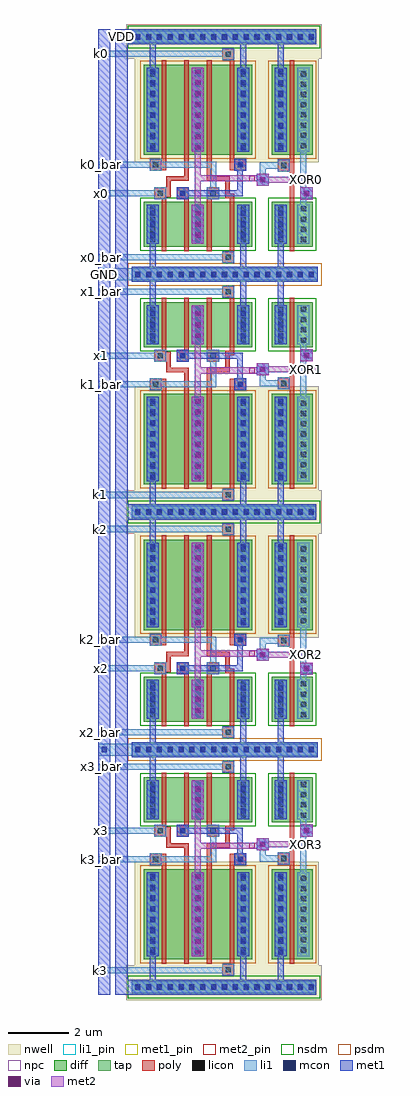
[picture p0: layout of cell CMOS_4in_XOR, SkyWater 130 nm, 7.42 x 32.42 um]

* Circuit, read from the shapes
.subckt CMOS_4in_XOR GND VDD XOR0 XOR0_bar XOR1 XOR1_bar XOR2 XOR2_bar XOR3 XOR3_bar k0 k0_bar k1 k1_bar k2 k2_bar k3 k3_bar x0 x0_bar x1 x1_bar x2 x2_bar x3 x3_bar
XM1 n1 x3 GND GND sky130_fd_pr__nfet_01v8 w=1.5 l=0.15
XM2 n2 x2 GND GND sky130_fd_pr__nfet_01v8 w=1.5 l=0.15
XM3 n3 x1 GND GND sky130_fd_pr__nfet_01v8 w=1.5 l=0.15
XM4 n4 x0 GND GND sky130_fd_pr__nfet_01v8 w=1.5 l=0.15
XM5 XOR3 k3 n1 GND sky130_fd_pr__nfet_01v8 w=1.5 l=0.15
XM6 XOR2 k2 n2 GND sky130_fd_pr__nfet_01v8 w=1.5 l=0.15
XM7 XOR1 k1 n3 GND sky130_fd_pr__nfet_01v8 w=1.5 l=0.15
XM8 XOR0 k0 n4 GND sky130_fd_pr__nfet_01v8 w=1.5 l=0.15
XM9 n5 k3_bar XOR3 GND sky130_fd_pr__nfet_01v8 w=1.5 l=0.15
XM10 n6 k2_bar XOR2 GND sky130_fd_pr__nfet_01v8 w=1.5 l=0.15
XM11 n7 k1_bar XOR1 GND sky130_fd_pr__nfet_01v8 w=1.5 l=0.15
XM12 n8 k0_bar XOR0 GND sky130_fd_pr__nfet_01v8 w=1.5 l=0.15
XM13 GND x3_bar n5 GND sky130_fd_pr__nfet_01v8 w=1.5 l=0.15
XM14 GND x2_bar n6 GND sky130_fd_pr__nfet_01v8 w=1.5 l=0.15
XM15 GND x1_bar n7 GND sky130_fd_pr__nfet_01v8 w=1.5 l=0.15
XM16 GND x0_bar n8 GND sky130_fd_pr__nfet_01v8 w=1.5 l=0.15
XM17 XOR3_bar XOR3 GND GND sky130_fd_pr__nfet_01v8 w=1.5 l=0.15
XM18 XOR2_bar XOR2 GND GND sky130_fd_pr__nfet_01v8 w=1.5 l=0.15
XM19 XOR1_bar XOR1 GND GND sky130_fd_pr__nfet_01v8 w=1.5 l=0.15
XM20 XOR0_bar XOR0 GND GND sky130_fd_pr__nfet_01v8 w=1.5 l=0.15
XM21 n9 k3_bar VDD VDD sky130_fd_pr__pfet_01v8 w=3 l=0.15
XM22 n10 k2_bar VDD VDD sky130_fd_pr__pfet_01v8 w=3 l=0.15
XM23 n11 k1_bar VDD VDD sky130_fd_pr__pfet_01v8 w=3 l=0.15
XM24 n12 k0_bar VDD VDD sky130_fd_pr__pfet_01v8 w=3 l=0.15
XM25 XOR3 x3 n9 VDD sky130_fd_pr__pfet_01v8 w=3 l=0.15
XM26 XOR2 x2 n10 VDD sky130_fd_pr__pfet_01v8 w=3 l=0.15
XM27 XOR1 x1 n11 VDD sky130_fd_pr__pfet_01v8 w=3 l=0.15
XM28 XOR0 x0 n12 VDD sky130_fd_pr__pfet_01v8 w=3 l=0.15
XM29 n13 x3_bar XOR3 VDD sky130_fd_pr__pfet_01v8 w=3 l=0.15
XM30 n14 x2_bar XOR2 VDD sky130_fd_pr__pfet_01v8 w=3 l=0.15
XM31 n15 x1_bar XOR1 VDD sky130_fd_pr__pfet_01v8 w=3 l=0.15
XM32 n16 x0_bar XOR0 VDD sky130_fd_pr__pfet_01v8 w=3 l=0.15
XM33 VDD k3 n13 VDD sky130_fd_pr__pfet_01v8 w=3 l=0.15
XM34 VDD k2 n14 VDD sky130_fd_pr__pfet_01v8 w=3 l=0.15
XM35 VDD k1 n15 VDD sky130_fd_pr__pfet_01v8 w=3 l=0.15
XM36 VDD k0 n16 VDD sky130_fd_pr__pfet_01v8 w=3 l=0.15
XM37 XOR3_bar XOR3 VDD VDD sky130_fd_pr__pfet_01v8 w=3 l=0.15
XM38 XOR2_bar XOR2 VDD VDD sky130_fd_pr__pfet_01v8 w=3 l=0.15
XM39 XOR1_bar XOR1 VDD VDD sky130_fd_pr__pfet_01v8 w=3 l=0.15
XM40 XOR0_bar XOR0 VDD VDD sky130_fd_pr__pfet_01v8 w=3 l=0.15
.ends

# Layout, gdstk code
import gdstk
lib = gdstk.Library(unit=1e-6, precision=1e-09)
def R(c, l, rs):  # rectangles x0, y0, x1, y1
    for r in rs: c.add(gdstk.rectangle(r[:2], r[2:], *l))
def A(c, l, x, y, w, h, nx, ny, dx, dy):  # array of equal rectangles
    R(c, l, [(x+i*dx, y+j*dy, x+i*dx+w, y+j*dy+h) for i in range(nx) for j in range(ny)])
nwell = (64, 20)
diff = (65, 20)
tap = (65, 44)
poly = (66, 20)
licon = (66, 44)
li1_pin = (67, 16)
li1 = (67, 20)
mcon = (67, 44)
met1_pin = (68, 16)
met1 = (68, 20)
via = (68, 44)
met2_pin = (69, 16)
met2 = (69, 20)
nsdm = (93, 44)
psdm = (94, 20)
npc = (95, 20)

cmos_inv = lib.new_cell('CMOS_INV')
R(cmos_inv, nwell, [(-0.73,-0.25,1.02,3.2), (-1.12,3.2,1.125,4.35)])
R(cmos_inv, diff, [(-0.53,-3.05,0.82,-1.55), (-0.53,0,0.82,3)])
R(cmos_inv, tap, [(-0.94,-4.22,1,-3.72), (-0.94,3.67,0.945,4.17)])
R(cmos_inv, poly, [(0.07,-3.2,0.22,-0.55), (-0.33,-0.55,0.22,-0.15), (0.07,-0.15,0.22,3.15)])
A(cmos_inv, licon, -0.75, -4.055, 0.17, 0.17, 5, 2, 0.36, 7.89)
A(cmos_inv, licon, -0.315, -2.895, 0.17, 0.17, 1, 4, 0, 0.34)
A(cmos_inv, licon, 0.435, -2.895, 0.17, 0.17, 1, 4, 0, 0.34)
A(cmos_inv, licon, -0.315, 0.225, 0.17, 0.17, 1, 8, 0, 0.34)
A(cmos_inv, licon, 0.435, 0.225, 0.17, 0.17, 1, 8, 0, 0.34)
R(cmos_inv, licon, [(-0.215,-0.435,-0.045,-0.265)])
R(cmos_inv, li1_pin, [(0.435,-0.91,0.605,-0.74), (-0.215,-0.435,-0.045,-0.265)])
R(cmos_inv, li1, [(-0.94,-4.17,1,-3.77), (-0.43,-2.95,-0.03,-1.65), (0.32,-2.95,0.72,-1.65), (0.42,-1.65,0.62,0.1), (-0.33,-0.55,0.07,-0.45), (-0.94,-0.45,0.07,-0.25), (-0.33,-0.25,0.07,-0.15), (-0.43,0.1,-0.03,2.9), (0.32,0.1,0.72,2.9), (-0.94,3.72,0.945,4.12)])
A(cmos_inv, mcon, -0.75, -4.055, 0.17, 0.17, 5, 2, 0.36, 7.89)
A(cmos_inv, mcon, -0.315, -2.745, 0.17, 0.17, 1, 3, 0, 0.36)
A(cmos_inv, mcon, -0.315, 0.155, 0.17, 0.17, 1, 8, 0, 0.36)
R(cmos_inv, met1_pin, [(-0.03,-4.055,0.14,-3.885), (-0.03,3.835,0.14,4.005)])
R(cmos_inv, met1, [(-0.94,-4.22,1,-3.72), (-0.33,-3.72,-0.13,-2.95), (-0.43,-2.95,-0.03,-1.65), (-0.43,0.1,-0.03,2.9), (-0.33,2.9,-0.13,3.67), (-0.94,3.67,0.945,4.17)])
R(cmos_inv, nsdm, [(-0.655,-3.175,0.945,-1.425), (-1.065,3.545,1.07,4.295)])
R(cmos_inv, psdm, [(-1.065,-4.345,1.125,-3.595), (-0.655,-0.125,0.945,3.125)])
R(cmos_inv, npc, [(-0.315,-0.535,0.055,-0.165)])
cmos_inv.add(gdstk.Label('GND', (0.055,-3.97), layer=68, texttype=16))
cmos_inv.add(gdstk.Label('VDD', (0.055,3.92), layer=68, texttype=16))
cmos_inv.add(gdstk.Label('OUT', (0.52,-0.825), layer=67, texttype=16))
cmos_inv.add(gdstk.Label('A', (-0.13,-0.35), layer=67, texttype=16))

cmos_xor = lib.new_cell('CMOS_XOR')
R(cmos_xor, nwell, [(-2.1,-0.25,2.15,3.2), (-2.38,3.2,2.38,4.35)])
R(cmos_xor, diff, [(-1.8,-3.05,1.8,-1.55), (-1.8,0,1.8,3)])
R(cmos_xor, tap, [(-2.2,-4.22,2.2,-3.72), (-2.2,3.67,2.2,4.17)])
A(cmos_xor, poly, -1.2, -3.2, 0.15, 1.725, 3, 1, 0.75, 0)
R(cmos_xor, poly, [(0.8,-3.6,1.2,-3.2), (1.05,-3.2,1.2,-1.44), (-1.45,-1.475,-1.05,-1.4), (-0.7,-1.475,-0.3,-1.075), (0.3,-1.475,0.7,-1.075), (0.91,-1.44,1.2,-1.29), (-1.45,-1.4,-0.91,-1.075), (0.91,-1.29,1.06,-0.865), (-1.06,-1.075,-0.91,-0.865), (-1.06,-0.865,-0.3,-0.715), (0.3,-0.865,1.06,-0.715), (-0.45,-0.715,-0.3,3.15), (0.3,-0.715,0.45,3.15), (-1.6,-0.52,-1.2,-0.505), (1.2,-0.52,1.6,-0.505), (-1.6,-0.505,-1.05,-0.12), (1.05,-0.505,1.6,-0.12), (-1.2,-0.12,-1.05,3.15), (1.05,-0.12,1.2,3.15), (0.8,3.15,1.2,3.55)])
A(cmos_xor, licon, -2.085, -4.055, 0.17, 0.17, 12, 2, 0.36, 7.89)
A(cmos_xor, licon, -1.585, -2.895, 0.17, 0.17, 3, 4, 1.5, 0.34)
A(cmos_xor, licon, -1.585, 0.225, 0.17, 0.17, 3, 8, 1.5, 0.34)
R(cmos_xor, licon, [(0.915,-3.485,1.085,-3.315), (-1.335,-1.36,-1.165,-1.19), (-0.585,-1.36,-0.415,-1.19), (0.415,-1.36,0.585,-1.19), (-1.485,-0.405,-1.315,-0.235), (1.315,-0.405,1.485,-0.235), (0.915,3.265,1.085,3.435)])
R(cmos_xor, li1_pin, [(0.915,-3.485,1.085,-3.315), (-1.335,-1.36,-1.165,-1.19), (-1.515,-0.445,-1.27,-0.21), (0.915,3.265,1.085,3.435)])
A(cmos_xor, li1, -1.7, -2.95, 0.4, 1.3, 3, 1, 1.5, 0)
A(cmos_xor, li1, -1.7, 0.1, 0.4, 2.8, 3, 1, 1.5, 0)
R(cmos_xor, li1, [(-2.2,-4.17,2.2,-3.77), (0.8,-3.6,1.2,-3.2), (-1.45,-1.475,-1.05,-1.075), (-0.7,-1.475,-0.3,-1.075), (0.3,-1.475,0.7,-1.075), (0.4,-1.075,0.6,-0.42), (-1.6,-0.52,-1.2,-0.42), (1.2,-0.52,1.6,-0.12), (-1.6,-0.42,0.6,-0.22), (-1.6,-0.22,-1.2,-0.12), (0.8,3.15,1.2,3.55), (-2.2,3.72,2.2,4.12)])
A(cmos_xor, mcon, -2.085, -4.055, 0.17, 0.17, 12, 2, 0.36, 7.89)
A(cmos_xor, mcon, -1.585, -2.745, 0.17, 0.17, 3, 3, 1.5, 0.36)
A(cmos_xor, mcon, -1.585, 0.155, 0.17, 0.17, 3, 8, 1.5, 0.36)
R(cmos_xor, mcon, [(-0.585,-1.36,-0.415,-1.19), (1.315,-0.405,1.485,-0.235)])
R(cmos_xor, met1_pin, [(-0.3,-4.07,-0.1,-3.87), (-0.3,3.82,-0.1,4.02)])
A(cmos_xor, met1, -1.7, -2.95, 0.4, 1.3, 3, 1, 1.5, 0)
A(cmos_xor, met1, -1.7, 0.1, 0.4, 2.8, 3, 1, 1.5, 0)
R(cmos_xor, met1, [(-2.2,-4.22,2.2,-3.72), (-1.6,-3.72,-1.4,-2.95), (1.4,-3.72,1.6,-2.95), (-0.7,-1.475,-0.3,-1.375), (-0.7,-1.375,1.495,-1.175), (-0.7,-1.175,-0.3,-1.075), (1.3,-1.175,1.495,-0.52), (1.2,-0.52,1.6,-0.12), (-1.6,2.9,-1.4,3.67), (1.4,2.9,1.6,3.67), (-2.2,3.67,2.2,4.17)])
A(cmos_xor, via, -0.075, -2.735, 0.15, 0.15, 1, 3, 0, 0.36)
A(cmos_xor, via, -0.075, 0.165, 0.15, 0.15, 1, 8, 0, 0.36)
R(cmos_xor, met2_pin, [(1.7,-0.87,1.88,-0.69)])
R(cmos_xor, met2, [(-0.2,-2.95,0.2,-1.65), (-0.1,-1.65,0.1,-0.88), (-0.1,-0.88,2.15,-0.68), (-0.1,-0.68,0.1,0.1), (-0.2,0.1,0.2,2.9)])
R(cmos_xor, nsdm, [(-1.925,-3.175,1.925,-1.425), (-2.325,3.545,2.325,4.295)])
R(cmos_xor, psdm, [(-2.325,-4.345,2.325,-3.595), (-1.925,-0.125,1.925,3.125)])
R(cmos_xor, npc, [(0.815,-3.585,1.185,-3.215), (-1.435,-1.46,-1.065,-1.09), (-0.685,-1.46,-0.315,-1.09), (0.315,-1.46,0.685,-1.09), (-1.585,-0.505,-1.215,-0.135), (1.215,-0.505,1.585,-0.135), (0.815,3.165,1.185,3.535)])
cmos_xor.add(gdstk.Label('GND!', (-0.2,-3.97), layer=68, texttype=16))
cmos_xor.add(gdstk.Label('VDD', (-0.2,3.92), layer=68, texttype=16))
cmos_xor.add(gdstk.Label('B', (1,3.35), layer=67, texttype=16))
cmos_xor.add(gdstk.Label('A_bar', (1,-3.4), layer=67, texttype=16))
cmos_xor.add(gdstk.Label('A', (-1.25,-1.275), layer=67, texttype=16))
cmos_xor.add(gdstk.Label('B_bar', (-1.392,-0.327), layer=67, texttype=16))
cmos_xor.add(gdstk.Label('XOR', (1.79,-0.78), layer=69, texttype=16))

cmos_4in_xor = lib.new_cell('CMOS_4in_XOR')
R(cmos_4in_xor, nwell, [(1.75,-15.06,1.855,-11.61), (1.75,-4.17,1.855,-0.72), (1.75,0.72,1.855,4.17), (1.75,11.61,1.855,15.06)])
R(cmos_4in_xor, li1_pin, [(-3.68,-15.265,-3.58,-15.165), (-3.67,-11.59,-3.57,-11.49), (-3.66,-10.635,-3.56,-10.535), (-3.66,-8.515,-3.56,-8.415), (-3.68,-7.37,-3.58,-7.27), (-3.655,-5.245,-3.555,-5.145), (-3.675,-4.29,-3.575,-4.19), (-3.68,-0.615,-3.58,-0.515), (-3.69,0.515,-3.59,0.615), (-3.665,4.185,-3.565,4.285), (-3.655,5.15,-3.555,5.25), (-3.66,7.265,-3.56,7.365), (-3.655,8.41,-3.555,8.51), (-3.65,10.54,-3.55,10.64), (-3.66,11.49,-3.56,11.59), (-3.66,15.17,-3.56,15.27)])
R(cmos_4in_xor, li1, [(-3.71,-15.315,0.4,-15.115), (-3.71,-11.64,-2,-11.44), (1.645,-11.41,1.845,-11.24), (1.545,-11.24,1.945,-10.84), (3.005,-10.78,3.405,-10.38), (-3.71,-10.685,-1.85,-10.485), (-3.71,-8.56,0.4,-8.36), (-3.71,-8.09,-2.6,-7.69), (-3.71,-7.42,0.4,-7.22), (3.005,-5.4,3.405,-5), (-3.71,-5.295,-1.85,-5.095), (1.545,-4.94,1.945,-4.54), (1.645,-4.54,1.845,-4.37), (-3.71,-4.34,-2,-4.14), (-3.71,-0.665,0.4,-0.465), (-3.71,0.465,0.4,0.665), (-3.71,4.14,-2,4.34), (1.645,4.37,1.845,4.54), (1.545,4.54,1.945,4.94), (3.005,5,3.405,5.4), (-3.71,5.095,-1.85,5.295), (-3.71,7.22,0.4,7.42), (-3.71,7.69,-2.6,8.09), (-3.71,8.36,0.4,8.56), (3.005,10.38,3.405,10.78), (-3.71,10.485,-1.85,10.685), (1.545,10.84,1.945,11.24), (1.645,11.24,1.845,11.41), (-3.71,11.44,-2,11.64), (-3.71,15.115,0.4,15.315)])
R(cmos_4in_xor, mcon, [(1.66,-11.125,1.83,-10.955), (3.12,-10.665,3.29,-10.495), (-3.595,-7.975,-3.425,-7.805), (3.12,-5.285,3.29,-5.115), (1.66,-4.825,1.83,-4.655), (1.66,4.655,1.83,4.825), (3.12,5.115,3.29,5.285), (-3.595,7.805,-3.425,7.975), (3.12,10.495,3.29,10.665), (1.66,10.955,1.83,11.125)])
R(cmos_4in_xor, met1_pin, [(-3.58,7.825,-3.44,7.96), (-3.03,15.695,-2.86,15.865)])
A(cmos_4in_xor, met1, -3.14, -16.03, 0.54, 0.5, 1, 3, 0, 15.78)
R(cmos_4in_xor, met1, [(-3.71,-16.03,-3.31,16.03), (-3.14,-15.53,-2.74,-0.25), (1.545,-11.24,1.945,-10.84), (3.005,-10.78,3.405,-10.38), (3.005,-5.4,3.405,-5), (1.545,-4.94,1.945,-4.54), (-3.14,0.25,-2.74,15.53), (1.545,4.54,1.945,4.94), (3.005,5,3.405,5.4), (3.005,10.38,3.405,10.78), (1.545,10.84,1.945,11.24)])
R(cmos_4in_xor, via, [(1.67,-11.115,1.82,-10.965), (3.13,-10.655,3.28,-10.505), (3.13,-5.275,3.28,-5.125), (1.67,-4.815,1.82,-4.665), (1.67,4.665,1.82,4.815), (3.13,5.125,3.28,5.275), (3.13,10.505,3.28,10.655), (1.67,10.965,1.82,11.115)])
R(cmos_4in_xor, met2_pin, [(3.12,-11.125,3.29,-10.955), (3.12,-10.665,3.29,-10.495), (3.12,-5.285,3.29,-5.115), (3.12,-4.825,3.29,-4.655), (3.12,4.655,3.29,4.825), (3.12,5.115,3.29,5.285), (3.12,10.495,3.29,10.665), (3.12,10.955,3.29,11.125)])
R(cmos_4in_xor, met2, [(1.545,-11.24,1.945,-11.14), (1.545,-11.14,3.53,-10.94), (1.545,-10.94,1.945,-10.84), (3.005,-10.78,3.405,-10.38), (3.005,-5.4,3.405,-5), (1.545,-4.94,1.945,-4.84), (1.545,-4.84,3.53,-4.64), (1.545,-4.64,1.945,-4.54), (1.545,4.54,1.945,4.64), (1.545,4.64,3.53,4.84), (1.545,4.84,1.945,4.94), (3.005,5,3.405,5.4), (3.005,10.38,3.405,10.78), (1.545,10.84,1.945,10.94), (1.545,10.94,3.7,11.14), (1.545,11.14,1.945,11.24)])
cmos_4in_xor.add(gdstk.Reference(cmos_inv, (2.585,-3.92)))
cmos_4in_xor.add(gdstk.Reference(cmos_inv, (2.585,11.86)))
cmos_4in_xor.add(gdstk.Reference(cmos_inv, (2.585,3.92), x_reflection=True))
cmos_4in_xor.add(gdstk.Reference(cmos_inv, (2.585,-11.86), x_reflection=True))
cmos_4in_xor.add(gdstk.Reference(cmos_xor, (-0.4,11.86)))
cmos_4in_xor.add(gdstk.Reference(cmos_xor, (-0.4,3.92), x_reflection=True))
cmos_4in_xor.add(gdstk.Reference(cmos_xor, (-0.4,-11.86), x_reflection=True))
cmos_4in_xor.add(gdstk.Reference(cmos_xor, (-0.4,-3.92)))
cmos_4in_xor.add(gdstk.Label('GND', (-3.51,7.892), layer=68, texttype=16))
cmos_4in_xor.add(gdstk.Label('VDD', (-2.945,15.78), layer=68, texttype=16))
cmos_4in_xor.add(gdstk.Label('x0', (-3.6,10.59), layer=67, texttype=16))
cmos_4in_xor.add(gdstk.Label('x0_bar', (-3.605,8.46), layer=67, texttype=16))
cmos_4in_xor.add(gdstk.Label('k0', (-3.61,15.22), layer=67, texttype=16))
cmos_4in_xor.add(gdstk.Label('k0_bar', (-3.61,11.54), layer=67, texttype=16))
cmos_4in_xor.add(gdstk.Label('x1', (-3.605,5.2), layer=67, texttype=16))
cmos_4in_xor.add(gdstk.Label('x1_bar', (-3.61,7.315), layer=67, texttype=16))
cmos_4in_xor.add(gdstk.Label('k1', (-3.64,0.565), layer=67, texttype=16))
cmos_4in_xor.add(gdstk.Label('k1_bar', (-3.615,4.235), layer=67, texttype=16))
cmos_4in_xor.add(gdstk.Label('x2', (-3.605,-5.195), layer=67, texttype=16))
cmos_4in_xor.add(gdstk.Label('x2_bar', (-3.63,-7.32), layer=67, texttype=16))
cmos_4in_xor.add(gdstk.Label('k2', (-3.63,-0.565), layer=67, texttype=16))
cmos_4in_xor.add(gdstk.Label('k2_bar', (-3.625,-4.24), layer=67, texttype=16))
cmos_4in_xor.add(gdstk.Label('x3', (-3.61,-10.585), layer=67, texttype=16))
cmos_4in_xor.add(gdstk.Label('x3_bar', (-3.61,-8.465), layer=67, texttype=16))
cmos_4in_xor.add(gdstk.Label('k3', (-3.63,-15.215), layer=67, texttype=16))
cmos_4in_xor.add(gdstk.Label('k3_bar', (-3.62,-11.54), layer=67, texttype=16))
cmos_4in_xor.add(gdstk.Label('XOR1', (3.205,4.74), layer=69, texttype=16))
cmos_4in_xor.add(gdstk.Label('XOR0', (3.205,11.04), layer=69, texttype=16))
cmos_4in_xor.add(gdstk.Label('XOR2', (3.205,-4.74), layer=69, texttype=16))
cmos_4in_xor.add(gdstk.Label('XOR3', (3.205,-11.04), layer=69, texttype=16))
cmos_4in_xor.add(gdstk.Label('XOR0_bar', (3.205,10.58), layer=69, texttype=16))
cmos_4in_xor.add(gdstk.Label('XOR1_bar', (3.205,5.2), layer=69, texttype=16))
cmos_4in_xor.add(gdstk.Label('XOR2_bar', (3.205,-5.2), layer=69, texttype=16))
cmos_4in_xor.add(gdstk.Label('XOR3_bar', (3.205,-10.58), layer=69, texttype=16))

lib.write_gds('CMOS_4in_XOR.gds')
